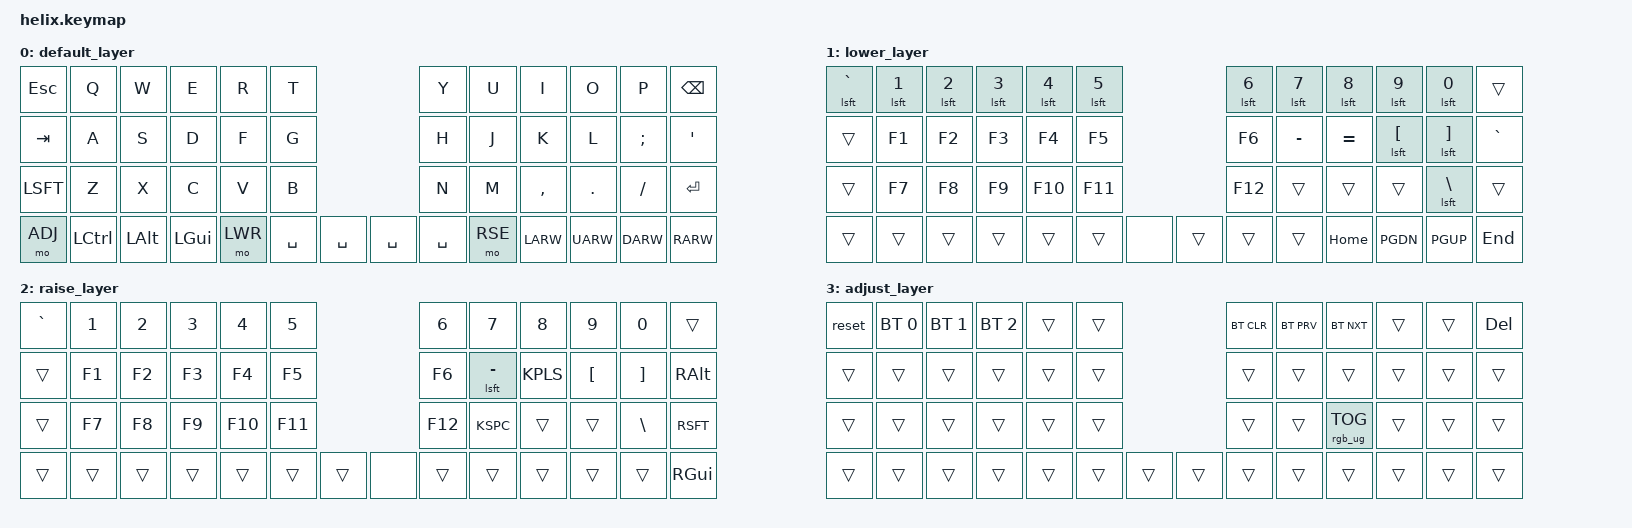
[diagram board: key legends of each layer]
#include <behaviors.dtsi>
#include <dt-bindings/zmk/keys.h>
#include <dt-bindings/zmk/rgb.h>
#include <dt-bindings/zmk/bt.h>

#define DEFAULT 0
#define LWR     1
#define RSE     2
#define ADJ     3

/ {
  keymap {
		compatible = "zmk,keymap";

    default_layer {
      bindings = <
&kp ESC  &kp Q     &kp W     &kp E     &kp R    &kp T                         &kp Y     &kp U     &kp I      &kp O     &kp P      &kp BKSP
&kp TAB  &kp A     &kp S     &kp D     &kp F    &kp G                         &kp H     &kp J     &kp K      &kp L     &kp SCLN   &kp QUOT
&kp LSFT &kp Z     &kp X     &kp C     &kp V    &kp B                         &kp N     &kp M     &kp CMMA   &kp DOT   &kp FSLH   &kp RET
&mo ADJ  &kp LCTL  &kp LALT  &kp LGUI  &mo LWR  &kp SPC   &kp SPC   &kp SPC   &kp SPC   &mo RSE   &kp LARW   &kp UARW  &kp DARW   &kp RARW
      >;
    };

    lower_layer {
      bindings = <
&lsft GRAV &lsft NUM_1 &lsft NUM_2 &lsft NUM_3 &lsft NUM_4 &lsft NUM_5                     &lsft NUM_6 &lsft NUM_7 &lsft NUM_8 &lsft NUM_9 &lsft NUM_0  &trans
&trans     &kp F1      &kp F2      &kp F3      &kp F4      &kp F5                          &kp F6      &kp MINUS   &kp EQL     &lsft LBKT  &lsft RBKT   &kp GRAV
&trans     &kp F7      &kp F8      &kp F9      &kp F10     &kp F11                         &kp F12     &trans      &trans      &trans      &lsft BSLH   &trans
&trans     &trans      &trans      &trans      &trans      &trans      &none     &trans    &trans      &trans      &kp HOME    &kp PGDN    &kp PGUP     &kp END
      >;
    };

    raise_layer {
      bindings = <
&kp GRAV &kp NUM_1 &kp NUM_2 &kp NUM_3 &kp NUM_4 &kp NUM_5                     &kp NUM_6 &kp NUM_7   &kp NUM_8 &kp NUM_9 &kp NUM_0  &trans
&trans   &kp F1    &kp F2    &kp F3    &kp F4    &kp F5                        &kp F6    &lsft MINUS &kp KPLS  &kp LBKT  &kp RBKT   &kp RALT
&trans   &kp F7    &kp F8    &kp F9    &kp F10   &kp F11                       &kp F12   &kp KSPC    &trans    &trans    &kp BSLH   &kp RSFT
&trans   &trans    &trans    &trans    &trans    &trans    &trans    &none     &trans    &trans      &trans    &trans    &trans     &kp RGUI    
      >;
    };

    adjust_layer {
      bindings = <
&reset   &bt BT_SEL 0 &bt BT_SEL 1 &bt BT_SEL 2 &trans    &trans                        &bt BT_CLR &bt BT_PRV &bt BT_NXT      &trans    &trans    &kp DEL
&trans   &trans       &trans       &trans       &trans    &trans                        &trans     &trans     &trans          &trans    &trans    &trans
&trans   &trans       &trans       &trans       &trans    &trans                        &trans     &trans     &rgb_ug RGB_TOG &trans    &trans    &trans
&trans   &trans       &trans       &trans       &trans    &trans    &trans    &trans    &trans     &trans     &trans          &trans    &trans    &trans
      >;
    };
  };
};
